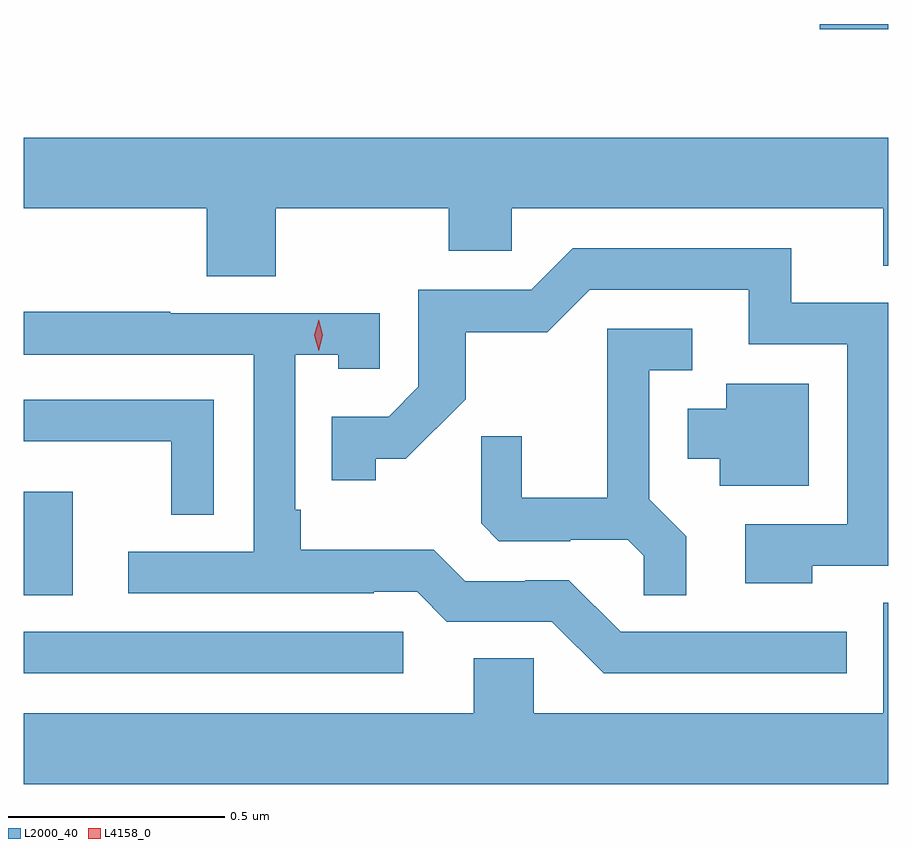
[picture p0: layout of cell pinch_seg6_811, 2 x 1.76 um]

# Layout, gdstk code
import gdstk
lib = gdstk.Library(unit=1e-6, precision=1e-09)
def R(c, l, rs):  # rectangles x0, y0, x1, y1
    for r in rs: c.add(gdstk.rectangle(r[:2], r[2:], *l))
def P(c, l, *ps):  # polygons
    for p in ps: c.add(gdstk.Polygon(p, *l))
L2000_40 = (2000, 40)
L4158_0 = (4158, 0)

pinch_seg6_811 = lib.new_cell('pinch_seg6_811')
R(pinch_seg6_811, L2000_40, [(345.308,972.9,346.186,972.996), (345.308,973.081,345.421,973.32), (347.15,974.391,347.308,974.403)])
P(pinch_seg6_811, L2000_40, [(345.891,973.976),(346.291,973.976),(346.291,973.878),(346.437,973.878),(346.437,973.976),(347.297,973.976),(347.297,973.843),(347.308,973.843),(347.308,974.14),(345.308,974.14),(345.308,973.976),(345.731,973.976),(345.731,973.819),(345.891,973.819)],
  [(347.133,973.149),(347.308,973.149),(347.308,973.758),(347.084,973.758),(347.084,973.884),(346.578,973.884),(346.482,973.788),(346.221,973.788),(346.221,973.563),(346.152,973.494),(346.021,973.494),(346.021,973.347),(346.122,973.347),(346.122,973.397),(346.192,973.397),(346.33,973.534),(346.33,973.69),(346.519,973.69),(346.617,973.788),(346.985,973.788),(346.985,973.662),(347.214,973.662),(347.214,973.245),(346.977,973.245),(346.977,973.109),(347.133,973.109)],
  [(347.212,972.996),(346.689,972.996),(346.569,973.116),(346.468,973.116),(346.468,973.113),(346.329,973.113),(346.256,973.186),(345.949,973.186),(345.949,973.279),(345.936,973.279),(345.936,973.637),(346.035,973.637),(346.035,973.605),(346.131,973.605),(346.131,973.734),(345.647,973.734),(345.647,973.737),(345.308,973.737),(345.308,973.638),(345.84,973.638),(345.84,973.182),(345.549,973.182),(345.549,973.086),(346.118,973.086),(346.118,973.089),(346.218,973.089),(346.287,973.02),(346.53,973.02),(346.65,972.9),(347.212,972.9)],
  [(346.841,973.217),(346.755,973.303),(346.755,973.602),(346.855,973.602),(346.855,973.698),(346.658,973.698),(346.658,973.306),(346.46,973.306),(346.46,973.449),(346.366,973.449),(346.366,973.247),(346.407,973.206),(346.572,973.206),(346.572,973.209),(346.706,973.209),(346.743,973.172),(346.743,973.081),(346.841,973.081)],
  [(347.125,973.57),(346.934,973.57),(346.934,973.513),(346.844,973.513),(346.844,973.397),(346.919,973.397),(346.919,973.334),(347.125,973.334)],
  [(345.747,973.533),(345.308,973.533),(345.308,973.437),(345.649,973.437),(345.649,973.267),(345.747,973.267)],
  [(347.308,973.064),(347.297,973.064),(347.297,972.808),(346.488,972.808),(346.488,972.935),(346.349,972.935),(346.349,972.808),(345.308,972.808),(345.308,972.644),(347.308,972.644)])
P(pinch_seg6_811, L4158_0, [(345.99,973.647),(345.99,973.647),(345.98,973.683),(345.99,973.719),(345.99,973.719),(345.99,973.719),(346,973.683),(345.99,973.647)])

lib.write_gds('pinch_seg6_811.gds')
